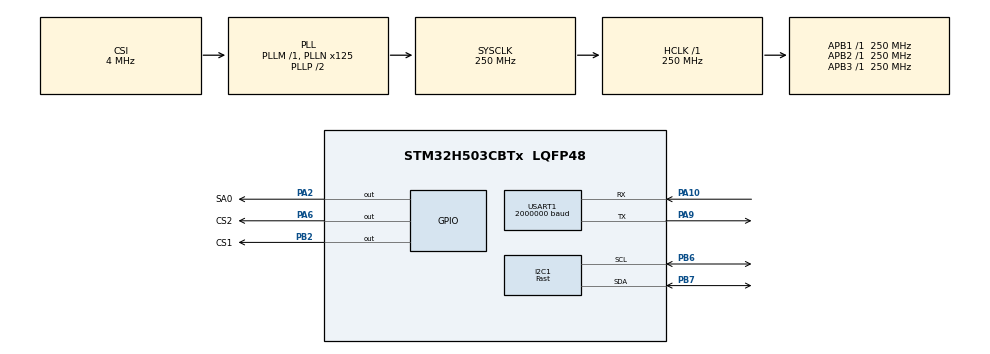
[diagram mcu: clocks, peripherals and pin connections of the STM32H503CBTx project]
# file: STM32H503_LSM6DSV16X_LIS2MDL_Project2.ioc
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I2C1.I2C_Speed_Mode=I2C_Fast
I2C1.Timing=0x10C043E5
Mcu.Family=STM32H5
Mcu.Name=STM32H503CBTx
Mcu.Package=LQFP48
NVIC.PriorityGroup=NVIC_PRIORITYGROUP_4
PA10.Mode=Asynchronous
PA10.Signal=USART1_RX
PA2.GPIO_Label=SA0
PA2.Signal=GPIO_Output
PA6.GPIO_Label=CS2
PA6.Signal=GPIO_Output
PA9.Mode=Asynchronous
PA9.Signal=USART1_TX
PB2.GPIO_Label=CS1
PB2.Signal=GPIO_Output
PB6.Mode=I2C
PB6.Signal=I2C1_SCL
PB7.Mode=I2C
PB7.Signal=I2C1_SDA
ProjectManager.HeapSize=0x2000
ProjectManager.StackSize=0x4000
ProjectManager.TargetToolchain=MDK-ARM V5.37
RCC.ADCFreq_Value=250000000
RCC.AHBFreq_Value=250000000
RCC.APB1Freq_Value=250000000
RCC.APB1TimFreq_Value=250000000
RCC.APB2Freq_Value=250000000
RCC.APB2TimFreq_Value=250000000
RCC.APB3Freq_Value=250000000
RCC.CSI_VALUE=4000000
RCC.CortexFreq_Value=250000000
RCC.EPOD_VALUE=4000000
RCC.HCLKFreq_Value=250000000
RCC.HSE_VALUE=25000000
RCC.HSI48_VALUE=48000000
RCC.HSI_VALUE=64000000
RCC.LSE_VALUE=32768
RCC.LSIRC_VALUE=32000
RCC.PLL2FRACN=0
RCC.PLLFRACN=0
RCC.PLLN=125
RCC.SYSCLKFreq_VALUE=250000000
RCC.SYSCLKSource=RCC_SYSCLKSOURCE_PLLCLK
RCC.USBFreq_Value=48000000
RCC.VCOOutputFreq_Value=500000000
USART1.BaudRate=2000000
USART1.VirtualMode-Asynchronous=VM_ASYNC
VP_BOOTPATH_VS_BOOTPATH.Mode=BP_Activate
VP_CORTEX_M33_NS_VS_Hclk.Mode=Hclk_Mode
VP_ICACHE_VS_ICACHE.Mode=DirectMappedCache
VP_MEMORYMAP_VS_MEMORYMAP.Mode=CurAppReg
VP_PWR_VS_DBSignals.Mode=DisableDeadBatterySignals
VP_PWR_VS_LPOM.Mode=PowerOptimisation
VP_PWR_VS_SECSignals.Mode=Security/Privilege
board=custom

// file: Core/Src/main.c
/* USER CODE BEGIN Header */
/**
  ******************************************************************************
  * @file           : main.c
  * @brief          : Main program body
  ******************************************************************************
  * @attention
  *
  * Copyright (c) 2025 STMicroelectronics.
  * All rights reserved.
  *
  * This software is licensed under terms that can be found in the LICENSE file
  * in the root directory of this software component.
  * If no LICENSE file comes with this software, it is provided AS-IS.
  *
  ******************************************************************************
  */
/* USER CODE END Header */
#include "main.h"
#include "i2c.h"
#include "icache.h"
#include "memorymap.h"
#include "usart.h"
#include "gpio.h"

/* USER CODE BEGIN Includes */
#include "stdio.h"
#include "lsm6dsv16x_reg.h"
#include <string.h>
#include "lis2mdl_reg.h"
/* USER CODE END Includes */

void SystemClock_Config(void);
/* USER CODE BEGIN PFP */
int fputc(int ch, FILE *f){
	HAL_UART_Transmit(&huart1 , (uint8_t *)&ch, 1, 0xFFFF);
	return ch;
}
/* USER CODE END PFP */

/* USER CODE BEGIN 0 */
#define SENSOR_BUS hi2c1

/* Private macro -------------------------------------------------------------*/
#define    BOOT_TIME            10 //ms

/* Private variables ---------------------------------------------------------*/
static int16_t data_raw_acceleration[3];
static int16_t data_raw_angular_rate[3];
static int16_t data_raw_temperature;
static double_t acceleration_mg[3];
static double_t angular_rate_mdps[3];
static double_t temperature_degC;
static uint8_t whoamI;
static uint8_t tx_buffer[1000];

static lsm6dsv16x_filt_settling_mask_t filt_settling_mask;

/* Extern variables ----------------------------------------------------------*/

/* Private functions ---------------------------------------------------------*/

/*
 *   WARNING:
 *   Functions declare in this section are defined at the end of this file
 *   and are strictly related to the hardware platform used.
 *
 */
static int32_t platform_write(void *handle, uint8_t reg, const uint8_t *bufp,
                              uint16_t len);
static int32_t platform_read(void *handle, uint8_t reg, uint8_t *bufp,
                             uint16_t len);
static void tx_com( uint8_t *tx_buffer, uint16_t len );
static void platform_delay(uint32_t ms);
static void platform_init(void *handle);

/* Private variables ---------------------------------------------------------*/
static int16_t data_raw_magnetic[3];
static int16_t data_raw_temperature;
static float_t magnetic_mG[3];
static float_t lis2mdl_temperature_degC;
static uint8_t whoamI, rst;
static uint8_t tx_buffer[1000];

/* Extern variables ----------------------------------------------------------*/

/* Private functions ---------------------------------------------------------*/
/*
 *   WARNING:
 *   Functions declare in this section are defined at the end of this file
 *   and are strictly related to the hardware platform used.
 *
 */
static int32_t lis2mdl_platform_write(void *handle, uint8_t reg, const uint8_t *bufp,
                              uint16_t len);
static int32_t lis2mdl_platform_read(void *handle, uint8_t reg, uint8_t *bufp,
                             uint16_t len);
static void lis2mdl_tx_com(uint8_t *tx_buffer, uint16_t len);
static void lis2mdl_platform_delay(uint32_t ms);
static void lis2mdl_platform_init(void);

/* USER CODE END 0 */

int main(void)
{

  /* MCU Configuration--------------------------------------------------------*/

  /* Reset of all peripherals, Initializes the Flash interface and the Systick. */
  HAL_Init();

  /* Configure the system clock */
  SystemClock_Config();

  /* Initialize all configured peripherals */
  MX_GPIO_Init();
  MX_I2C1_Init();
  MX_ICACHE_Init();
  MX_USART1_UART_Init();
  /* USER CODE BEGIN 2 */
	printf("HELLO!\n");
  HAL_GPIO_WritePin(CS1_GPIO_Port, CS1_Pin, GPIO_PIN_SET);
  HAL_GPIO_WritePin(SA0_GPIO_Port, SA0_Pin, GPIO_PIN_RESET);
  HAL_GPIO_WritePin(CS2_GPIO_Port, CS2_Pin, GPIO_PIN_SET);
	HAL_Delay(100);

  lsm6dsv16x_reset_t rst;
  stmdev_ctx_t dev_ctx;
  /* Initialize mems driver interface */
  dev_ctx.write_reg = platform_write;
  dev_ctx.read_reg = platform_read;
  dev_ctx.mdelay = platform_delay;
  dev_ctx.handle = &SENSOR_BUS;

  /* Init test platform */
//  platform_init(dev_ctx.handle);
  /* Wait sensor boot time */
  platform_delay(BOOT_TIME);

  /* Check device ID */
  lsm6dsv16x_device_id_get(&dev_ctx, &whoamI);
	printf("LSM6DSV16X_ID=0x%x,whoamI=0x%x",LSM6DSV16X_ID,whoamI);
  if (whoamI != LSM6DSV16X_ID)
    while (1);

  /* Restore default configuration */
  lsm6dsv16x_reset_set(&dev_ctx, LSM6DSV16X_RESTORE_CTRL_REGS);
  do {
    lsm6dsv16x_reset_get(&dev_ctx, &rst);
  } while (rst != LSM6DSV16X_READY);

  /* Enable Block Data Update */
  lsm6dsv16x_block_data_update_set(&dev_ctx, PROPERTY_ENABLE);
  /* Set Output Data Rate.
   * Selected data rate have to be equal or greater with respect
   * with MLC data rate.
   */
  lsm6dsv16x_xl_data_rate_set(&dev_ctx, LSM6DSV16X_ODR_AT_7Hz5);
  lsm6dsv16x_gy_data_rate_set(&dev_ctx, LSM6DSV16X_ODR_AT_15Hz);
  /* Set full scale */
  lsm6dsv16x_xl_full_scale_set(&dev_ctx, LSM6DSV16X_2g);
  lsm6dsv16x_gy_full_scale_set(&dev_ctx, LSM6DSV16X_2000dps);
  /* Configure filtering chain */
  filt_settling_mask.drdy = PROPERTY_ENABLE;
  filt_settling_mask.irq_xl = PROPERTY_ENABLE;
  filt_settling_mask.irq_g = PROPERTY_ENABLE;
  lsm6dsv16x_filt_settling_mask_set(&dev_ctx, filt_settling_mask);
  lsm6dsv16x_filt_gy_lp1_set(&dev_ctx, PROPERTY_ENABLE);
  lsm6dsv16x_filt_gy_lp1_bandwidth_set(&dev_ctx, LSM6DSV16X_GY_ULTRA_LIGHT);
  lsm6dsv16x_filt_xl_lp2_set(&dev_ctx, PROPERTY_ENABLE);
  lsm6dsv16x_filt_xl_lp2_bandwidth_set(&dev_ctx, LSM6DSV16X_XL_STRONG);

  /* Initialize mems driver interface */
  stmdev_ctx_t lis2mdl_dev_ctx;
  lis2mdl_dev_ctx.write_reg = lis2mdl_platform_write;
  lis2mdl_dev_ctx.read_reg = lis2mdl_platform_read;
  lis2mdl_dev_ctx.mdelay = lis2mdl_platform_delay;
  lis2mdl_dev_ctx.handle = &SENSOR_BUS;
  /* Initialize platform specific hardware */
//  platform_init();
  /* Wait sensor boot time */
  lis2mdl_platform_delay(BOOT_TIME);

  /* Check device ID */
  lis2mdl_device_id_get(&lis2mdl_dev_ctx, &whoamI);
	printf("LIS2MDL_ID=0x%x,whoamI=0x%x",LIS2MDL_ID,whoamI);
  if (whoamI != LIS2MDL_ID)
    while (1) {
      /* manage here device not found */
    }

  /* Restore default configuration */
  lis2mdl_reset_set(&lis2mdl_dev_ctx, PROPERTY_ENABLE);

  do {
    lis2mdl_reset_get(&lis2mdl_dev_ctx, &rst);
  } while (rst);

  /* Enable Block Data Update */
  lis2mdl_block_data_update_set(&lis2mdl_dev_ctx, PROPERTY_ENABLE);
  /* Set Output Data Rate */
  lis2mdl_data_rate_set(&lis2mdl_dev_ctx, LIS2MDL_ODR_10Hz);
  /* Set / Reset sensor mode */
  lis2mdl_set_rst_mode_set(&lis2mdl_dev_ctx, LIS2MDL_SENS_OFF_CANC_EVERY_ODR);
  /* Enable temperature compensation */
  lis2mdl_offset_temp_comp_set(&lis2mdl_dev_ctx, PROPERTY_ENABLE);
  /* Set device in continuous mode */
  lis2mdl_operating_mode_set(&lis2mdl_dev_ctx, LIS2MDL_CONTINUOUS_MODE);

  /* USER CODE END 2 */

  /* Infinite loop */
  /* USER CODE BEGIN WHILE */
  while (1)
  {
//    lsm6dsv16x_data_ready_t drdy;

//    /* Read output only if new xl value is available */
//    lsm6dsv16x_flag_data_ready_get(&dev_ctx, &drdy);

//    if (drdy.drdy_xl) {
//      /* Read acceleration field data */
//      memset(data_raw_acceleration, 0x00, 3 * sizeof(int16_t));
//      lsm6dsv16x_acceleration_raw_get(&dev_ctx, data_raw_acceleration);
//      acceleration_mg[0] =
//        lsm6dsv16x_from_fs2_to_mg(data_raw_acceleration[0]);
//      acceleration_mg[1] =
//        lsm6dsv16x_from_fs2_to_mg(data_raw_acceleration[1]);
//      acceleration_mg[2] =
//        lsm6dsv16x_from_fs2_to_mg(data_raw_acceleration[2]);
//      printf( "Acceleration [mg]:%4.2f\t%4.2f\t%4.2f\r\n",
//              acceleration_mg[0], acceleration_mg[1], acceleration_mg[2]);

//    }

//    /* Read output only if new xl value is available */
//    if (drdy.drdy_gy) {
//      /* Read angular rate field data */
//      memset(data_raw_angular_rate, 0x00, 3 * sizeof(int16_t));
//      lsm6dsv16x_angular_rate_raw_get(&dev_ctx, data_raw_angular_rate);
//      angular_rate_mdps[0] =
//        lsm6dsv16x_from_fs2000_to_mdps(data_raw_angular_rate[0]);
//      angular_rate_mdps[1] =
//        lsm6dsv16x_from_fs2000_to_mdps(data_raw_angular_rate[1]);
//      angular_rate_mdps[2] =
//        lsm6dsv16x_from_fs2000_to_mdps(data_raw_angular_rate[2]);
//      printf("Angular rate [mdps]:%4.2f\t%4.2f\t%4.2f\r\n",
//              angular_rate_mdps[0], angular_rate_mdps[1], angular_rate_mdps[2]);
//    }

//    if (drdy.drdy_temp) {
//      /* Read temperature data */
//      memset(&data_raw_temperature, 0x00, sizeof(int16_t));
//      lsm6dsv16x_temperature_raw_get(&dev_ctx, &data_raw_temperature);
//      temperature_degC = lsm6dsv16x_from_lsb_to_celsius(
//                           data_raw_temperature);
//      printf("Temperature [degC]:%6.2f\r\n", temperature_degC);
//    }

	    uint8_t reg;
    /* Read output only if new value is available */
    lis2mdl_mag_data_ready_get(&lis2mdl_dev_ctx, &reg);

    if (reg) {
      /* Read magnetic field data */
      memset(data_raw_magnetic, 0x00, 3 * sizeof(int16_t));
      lis2mdl_magnetic_raw_get(&lis2mdl_dev_ctx, data_raw_magnetic);
      magnetic_mG[0] = lis2mdl_from_lsb_to_mgauss(data_raw_magnetic[0]);
      magnetic_mG[1] = lis2mdl_from_lsb_to_mgauss(data_raw_magnetic[1]);
      magnetic_mG[2] = lis2mdl_from_lsb_to_mgauss(data_raw_magnetic[2]);
      printf("Magnetic field [mG]:%4.2f\t%4.2f\t%4.2f\r\n",
              magnetic_mG[0], magnetic_mG[1], magnetic_mG[2]);

      /* Read temperature data */
      memset(&data_raw_temperature, 0x00, sizeof(int16_t));
      lis2mdl_temperature_raw_get(&lis2mdl_dev_ctx, &data_raw_temperature);
      lis2mdl_temperature_degC = lis2mdl_from_lsb_to_celsius(data_raw_temperature);
      printf("Temperature [degC]:%6.2f\r\n",
              lis2mdl_temperature_degC);

    }

    /* USER CODE END WHILE */

  }
}

void SystemClock_Config(void)
{
  RCC_OscInitTypeDef RCC_OscInitStruct = {0};
  RCC_ClkInitTypeDef RCC_ClkInitStruct = {0};

  /** Configure the main internal regulator output voltage
  */
  __HAL_PWR_VOLTAGESCALING_CONFIG(PWR_REGULATOR_VOLTAGE_SCALE0);

  while(!__HAL_PWR_GET_FLAG(PWR_FLAG_VOSRDY)) {}

  /** Initializes the RCC Oscillators according to the specified parameters
  * in the RCC_OscInitTypeDef structure.
  */
  RCC_OscInitStruct.OscillatorType = RCC_OSCILLATORTYPE_CSI;
  RCC_OscInitStruct.CSIState = RCC_CSI_ON;
  RCC_OscInitStruct.CSICalibrationValue = RCC_CSICALIBRATION_DEFAULT;
  RCC_OscInitStruct.PLL.PLLState = RCC_PLL_ON;
  RCC_OscInitStruct.PLL.PLLSource = RCC_PLL1_SOURCE_CSI;
  RCC_OscInitStruct.PLL.PLLM = 1;
  RCC_OscInitStruct.PLL.PLLN = 125;
  RCC_OscInitStruct.PLL.PLLP = 2;
  RCC_OscInitStruct.PLL.PLLQ = 2;
  RCC_OscInitStruct.PLL.PLLR = 2;
  RCC_OscInitStruct.PLL.PLLRGE = RCC_PLL1_VCIRANGE_2;
  RCC_OscInitStruct.PLL.PLLVCOSEL = RCC_PLL1_VCORANGE_WIDE;
  RCC_OscInitStruct.PLL.PLLFRACN = 0;
  if (HAL_RCC_OscConfig(&RCC_OscInitStruct) != HAL_OK)
  {
    Error_Handler();
  }

  /** Initializes the CPU, AHB and APB buses clocks
  */
  RCC_ClkInitStruct.ClockType = RCC_CLOCKTYPE_HCLK|RCC_CLOCKTYPE_SYSCLK
                              |RCC_CLOCKTYPE_PCLK1|RCC_CLOCKTYPE_PCLK2
                              |RCC_CLOCKTYPE_PCLK3;
  RCC_ClkInitStruct.SYSCLKSource = RCC_SYSCLKSOURCE_PLLCLK;
  RCC_ClkInitStruct.AHBCLKDivider = RCC_SYSCLK_DIV1;
  RCC_ClkInitStruct.APB1CLKDivider = RCC_HCLK_DIV1;
  RCC_ClkInitStruct.APB2CLKDivider = RCC_HCLK_DIV1;
  RCC_ClkInitStruct.APB3CLKDivider = RCC_HCLK_DIV1;

  if (HAL_RCC_ClockConfig(&RCC_ClkInitStruct, FLASH_LATENCY_5) != HAL_OK)
  {
    Error_Handler();
  }

  /** Configure the programming delay
  */
  __HAL_FLASH_SET_PROGRAM_DELAY(FLASH_PROGRAMMING_DELAY_2);
}

/* USER CODE BEGIN 4 */
static int32_t platform_write(void *handle, uint8_t reg, const uint8_t *bufp,
                              uint16_t len)
{
  HAL_I2C_Mem_Write(handle, LSM6DSV16X_I2C_ADD_L, reg,
                    I2C_MEMADD_SIZE_8BIT, (uint8_t*) bufp, len, 1000);
  return 0;
}

static int32_t platform_read(void *handle, uint8_t reg, uint8_t *bufp,
                             uint16_t len)
{
  HAL_I2C_Mem_Read(handle, LSM6DSV16X_I2C_ADD_L, reg,
                   I2C_MEMADD_SIZE_8BIT, bufp, len, 1000);
  return 0;
}

static void platform_delay(uint32_t ms)
{
  HAL_Delay(ms);
}

static int32_t lis2mdl_platform_write(void *handle, uint8_t reg, const uint8_t *bufp,
                              uint16_t len)
{
  HAL_I2C_Mem_Write(handle, LIS2MDL_I2C_ADD, reg,
                    I2C_MEMADD_SIZE_8BIT, (uint8_t*) bufp, len, 1000);
  return 0;
}

static int32_t lis2mdl_platform_read(void *handle, uint8_t reg, uint8_t *bufp,
                             uint16_t len)
{
  HAL_I2C_Mem_Read(handle, LIS2MDL_I2C_ADD, reg,
                   I2C_MEMADD_SIZE_8BIT, bufp, len, 1000);
  return 0;
}

static void lis2mdl_platform_delay(uint32_t ms)
{
  HAL_Delay(ms);
}

/* USER CODE END 4 */

void Error_Handler(void)
{
  __disable_irq();
  while (1)
  {
  }
}
